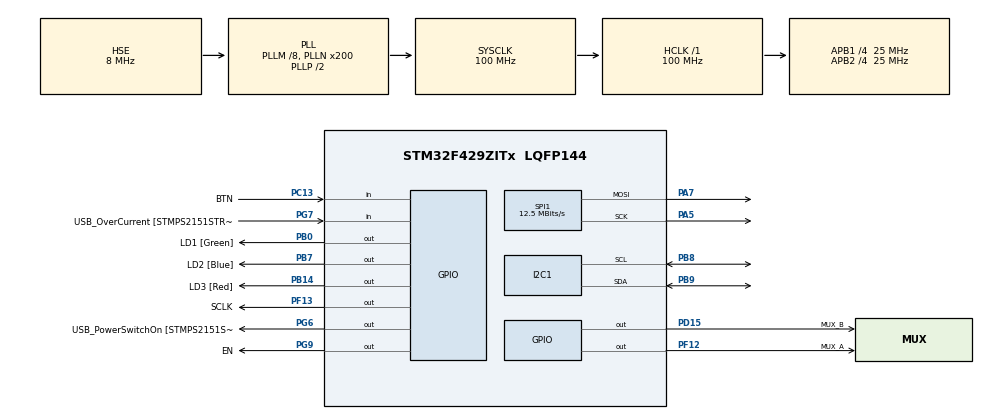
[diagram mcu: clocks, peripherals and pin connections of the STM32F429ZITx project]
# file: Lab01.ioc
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Mcu.Family=STM32F4
Mcu.Name=STM32F429ZITx
Mcu.Package=LQFP144
NVIC.I2C1_ER_IRQn=true\:0\:0\:false\:false\:true\:true\:true\:true
NVIC.I2C1_EV_IRQn=true\:0\:0\:false\:false\:true\:true\:true\:true
NVIC.PriorityGroup=NVIC_PRIORITYGROUP_4
NVIC.TIM3_IRQn=true\:0\:0\:false\:false\:true\:true\:true\:true
PA1.GPIO_Label=RMII_REF_CLK [LAN8742A-CZ-TR_REFCLK0]
PA1.Signal=ETH_REF_CLK
PA10.GPIO_Label=USB_ID
PA10.Signal=USB_OTG_FS_ID
PA11.GPIO_Label=USB_DM
PA11.Signal=USB_OTG_FS_DM
PA12.GPIO_Label=USB_DP
PA12.Signal=USB_OTG_FS_DP
PA13.GPIO_Label=TMS
PA13.Signal=SYS_JTMS-SWDIO
PA14.GPIO_Label=TCK
PA14.Signal=SYS_JTCK-SWCLK
PA2.GPIO_Label=RMII_MDIO [LAN8742A-CZ-TR_MDIO]
PA2.Signal=ETH_MDIO
PA5.Mode=TX_Only_Simplex_Unidirect_Master
PA5.Signal=SPI1_SCK
PA7.Mode=TX_Only_Simplex_Unidirect_Master
PA7.Signal=SPI1_MOSI
PA8.GPIO_Label=USB_SOF [TP1]
PA8.Signal=USB_OTG_FS_SOF
PA9.GPIO_Label=USB_VBUS
PA9.Signal=USB_OTG_FS_VBUS
PB0.GPIO_Label=LD1 [Green]
PB0.Signal=GPIO_Output
PB13.GPIO_Label=RMII_TXD1 [LAN8742A-CZ-TR_TXD1]
PB13.Signal=ETH_TXD1
PB14.GPIO_Label=LD3 [Red]
PB14.Signal=GPIO_Output
PB7.GPIO_Label=LD2 [Blue]
PB7.Signal=GPIO_Output
PB8.GPIO_Pu=GPIO_PULLUP
PB8.Mode=I2C
PB8.Signal=I2C1_SCL
PB9.GPIO_Pu=GPIO_PULLUP
PB9.Mode=I2C
PB9.Signal=I2C1_SDA
PC1.GPIO_Label=RMII_MDC [LAN8742A-CZ-TR_MDC]
PC1.Signal=ETH_MDC
PC13.GPIO_Label=BTN
PC13.Signal=GPIO_Input
PC14/OSC32_IN.Signal=RCC_OSC32_IN
PC15/OSC32_OUT.Signal=RCC_OSC32_OUT
PC4.GPIO_Label=RMII_RXD0 [LAN8742A-CZ-TR_RXD0]
PC4.Signal=ETH_RXD0
PC5.GPIO_Label=RMII_RXD1 [LAN8742A-CZ-TR_RXD1]
PC5.Signal=ETH_RXD1
PD15.GPIO_Label=MUX_B
PD15.Signal=GPIO_Output
PD8.GPIO_Label=STLK_RX [STM32F103CBT6_PA3]
PD8.Signal=USART3_TX
PD9.GPIO_Label=STLK_TX [STM32F103CBT6_PA2]
PD9.Signal=USART3_RX
PF12.GPIO_Label=MUX_A
PF12.Signal=GPIO_Output
PF13.GPIO_Label=SCLK
PF13.Signal=GPIO_Output
PG11.GPIO_Label=RMII_TX_EN [LAN8742A-CZ-TR_TXEN]
PG11.Signal=ETH_TX_EN
PG13.GPIO_Label=RMII_TXD0 [LAN8742A-CZ-TR_TXD0]
PG13.Signal=ETH_TXD0
PG6.GPIO_Label=USB_PowerSwitchOn [STMPS2151STR_EN]
PG6.Signal=GPIO_Output
PG7.GPIO_Label=USB_OverCurrent [STMPS2151STR_FAULT]
PG7.Signal=GPIO_Input
PG9.GPIO_Label=EN
PG9.Signal=GPIO_Output
PH0/OSC_IN.GPIO_Label=MCO [STM32F103CBT6_PA8]
PH0/OSC_IN.Mode=HSE-External-Oscillator
PH0/OSC_IN.Signal=RCC_OSC_IN
PH1/OSC_OUT.Mode=HSE-External-Oscillator
PH1/OSC_OUT.Signal=RCC_OSC_OUT
ProjectManager.HeapSize=0x200
ProjectManager.StackSize=0x400
ProjectManager.TargetToolchain=MDK-ARM V5.32
RCC.48MHZClocksFreq_Value=50000000
RCC.AHBFreq_Value=100000000
RCC.APB1CLKDivider=RCC_HCLK_DIV4
RCC.APB1Freq_Value=25000000
RCC.APB1TimFreq_Value=50000000
RCC.APB2CLKDivider=RCC_HCLK_DIV4
RCC.APB2Freq_Value=25000000
RCC.APB2TimFreq_Value=50000000
RCC.CortexFreq_Value=100000000
RCC.HCLKFreq_Value=100000000
RCC.HSE_VALUE=8000000
RCC.HSI_VALUE=16000000
RCC.LSE_VALUE=32768
RCC.PLLM=8
RCC.PLLMUL=RCC_PLL_MUL9
RCC.PLLN=200
RCC.PLLSourceVirtual=RCC_PLLSOURCE_HSE
RCC.PRESCALERUSB=RCC_USBCLKSOURCE_PLL_DIV1_5
RCC.SYSCLKFreq_VALUE=100000000
RCC.SYSCLKSource=RCC_SYSCLKSOURCE_PLLCLK
RCC.SYSCLKSourceVirtual=RCC_SYSCLKSOURCE_PLLCLK
RCC.USBFreq_Value=48000000
RCC.VCOOutputFreq_Value=200000000
SPI1.BaudRatePrescaler=SPI_BAUDRATEPRESCALER_2
SPI1.CalculateBaudRate=12.5 MBits/s
SPI1.Direction=SPI_DIRECTION_2LINES
SPI1.Mode=SPI_MODE_MASTER
SPI1.VirtualType=VM_MASTER
TIM3.Period=100-1
TIM3.Prescaler=2500-1
VP_TIM3_VS_ClockSourceINT.Mode=Internal
board=NUCLEO-F429ZI

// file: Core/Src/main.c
/* USER CODE BEGIN Header */
/**
  ******************************************************************************
  * @file           : main.c
  * @brief          : Main program body
  ******************************************************************************
  * @attention
  *
  * Copyright (c) 2023 STMicroelectronics.
  * All rights reserved.
  *
  * This software is licensed under terms that can be found in the LICENSE file
  * in the root directory of this software component.
  * If no LICENSE file comes with this software, it is provided AS-IS.
  *
  ******************************************************************************
  */
/* USER CODE END Header */
#include "main.h"

I2C_HandleTypeDef hi2c1;

SPI_HandleTypeDef hspi1;

TIM_HandleTypeDef htim3;

/* USER CODE BEGIN PV */

typedef struct {
	uint8_t x;
	uint8_t y;
} Pixel;

typedef enum {
	AB_11,
	AB_10,
	AB_01,
	AB_00
} ABMux;

uint8_t data[4][16];
uint8_t matrix[16][32] = {0};
uint8_t TX_buffer[64];
int output = 0;

/* USER CODE END PV */

void SystemClock_Config(void);
static void MX_GPIO_Init(void);
static void MX_SPI1_Init(void);
static void MX_TIM3_Init(void);
static void MX_I2C1_Init(void);
/* USER CODE BEGIN PFP */

void setABMux(ABMux AB);
void setOnePixel(Pixel pixel, uint8_t* dataFrame16);
void clearScreen(uint8_t* dataFrame16);
void printOnePixel(Pixel pixel, uint8_t dataFrame[16]);
void setMultiplePixel(uint8_t matrix[16][32], uint8_t dataFrame[4][16]);
void printMultiplePixel(uint8_t dataFrame[4][16]);

/* USER CODE END PFP */

int main(void)
{

  /* MCU Configuration--------------------------------------------------------*/

  /* Reset of all peripherals, Initializes the Flash interface and the Systick. */
  HAL_Init();

  /* Configure the system clock */
  SystemClock_Config();

  /* Initialize all configured peripherals */
  MX_GPIO_Init();
  MX_SPI1_Init();
  MX_TIM3_Init();
  MX_I2C1_Init();
  /* USER CODE BEGIN 2 */

	HAL_TIM_Base_Start_IT(&htim3);

	HAL_GPIO_WritePin(EN_GPIO_Port, EN_Pin, GPIO_PIN_SET);

  /* USER CODE END 2 */

  /* Infinite loop */
  while (1)
  {

    /* USER CODE BEGIN 3 */
		setMultiplePixel(matrix, data);
		printMultiplePixel(data);
//		for (uint8_t i = 0; i < 4; i++) {
//			for (uint8_t j = 0; j < 16; j++) {
//				TX_buffer[16*i + j] = data[i][j];
//			}
//		}
//		HAL_I2C_Master_Transmit_IT(&hi2c1, 10<<1, TX_buffer, 64);
  }
  /* USER CODE END 3 */
}

void SystemClock_Config(void)
{
  RCC_OscInitTypeDef RCC_OscInitStruct = {0};
  RCC_ClkInitTypeDef RCC_ClkInitStruct = {0};

  /** Configure the main internal regulator output voltage
  */
  __HAL_RCC_PWR_CLK_ENABLE();
  __HAL_PWR_VOLTAGESCALING_CONFIG(PWR_REGULATOR_VOLTAGE_SCALE3);

  /** Initializes the RCC Oscillators according to the specified parameters
  * in the RCC_OscInitTypeDef structure.
  */
  RCC_OscInitStruct.OscillatorType = RCC_OSCILLATORTYPE_HSE;
  RCC_OscInitStruct.HSEState = RCC_HSE_ON;
  RCC_OscInitStruct.PLL.PLLState = RCC_PLL_ON;
  RCC_OscInitStruct.PLL.PLLSource = RCC_PLLSOURCE_HSE;
  RCC_OscInitStruct.PLL.PLLM = 8;
  RCC_OscInitStruct.PLL.PLLN = 200;
  RCC_OscInitStruct.PLL.PLLP = RCC_PLLP_DIV2;
  RCC_OscInitStruct.PLL.PLLQ = 4;
  if (HAL_RCC_OscConfig(&RCC_OscInitStruct) != HAL_OK)
  {
    Error_Handler();
  }

  /** Initializes the CPU, AHB and APB buses clocks
  */
  RCC_ClkInitStruct.ClockType = RCC_CLOCKTYPE_HCLK|RCC_CLOCKTYPE_SYSCLK
                              |RCC_CLOCKTYPE_PCLK1|RCC_CLOCKTYPE_PCLK2;
  RCC_ClkInitStruct.SYSCLKSource = RCC_SYSCLKSOURCE_PLLCLK;
  RCC_ClkInitStruct.AHBCLKDivider = RCC_SYSCLK_DIV1;
  RCC_ClkInitStruct.APB1CLKDivider = RCC_HCLK_DIV4;
  RCC_ClkInitStruct.APB2CLKDivider = RCC_HCLK_DIV4;

  if (HAL_RCC_ClockConfig(&RCC_ClkInitStruct, FLASH_LATENCY_3) != HAL_OK)
  {
    Error_Handler();
  }
}

static void MX_I2C1_Init(void)
{

  hi2c1.Instance = I2C1;
  hi2c1.Init.ClockSpeed = 100000;
  hi2c1.Init.DutyCycle = I2C_DUTYCYCLE_2;
  hi2c1.Init.OwnAddress1 = 0;
  hi2c1.Init.AddressingMode = I2C_ADDRESSINGMODE_7BIT;
  hi2c1.Init.DualAddressMode = I2C_DUALADDRESS_DISABLE;
  hi2c1.Init.OwnAddress2 = 0;
  hi2c1.Init.GeneralCallMode = I2C_GENERALCALL_DISABLE;
  hi2c1.Init.NoStretchMode = I2C_NOSTRETCH_DISABLE;
  if (HAL_I2C_Init(&hi2c1) != HAL_OK)
  {
    Error_Handler();
  }

  /** Configure Analogue filter
  */
  if (HAL_I2CEx_ConfigAnalogFilter(&hi2c1, I2C_ANALOGFILTER_ENABLE) != HAL_OK)
  {
    Error_Handler();
  }

  /** Configure Digital filter
  */
  if (HAL_I2CEx_ConfigDigitalFilter(&hi2c1, 0) != HAL_OK)
  {
    Error_Handler();
  }

}

static void MX_SPI1_Init(void)
{

  /* SPI1 parameter configuration*/
  hspi1.Instance = SPI1;
  hspi1.Init.Mode = SPI_MODE_MASTER;
  hspi1.Init.Direction = SPI_DIRECTION_2LINES;
  hspi1.Init.DataSize = SPI_DATASIZE_8BIT;
  hspi1.Init.CLKPolarity = SPI_POLARITY_LOW;
  hspi1.Init.CLKPhase = SPI_PHASE_1EDGE;
  hspi1.Init.NSS = SPI_NSS_SOFT;
  hspi1.Init.BaudRatePrescaler = SPI_BAUDRATEPRESCALER_2;
  hspi1.Init.FirstBit = SPI_FIRSTBIT_MSB;
  hspi1.Init.TIMode = SPI_TIMODE_DISABLE;
  hspi1.Init.CRCCalculation = SPI_CRCCALCULATION_DISABLE;
  hspi1.Init.CRCPolynomial = 10;
  if (HAL_SPI_Init(&hspi1) != HAL_OK)
  {
    Error_Handler();
  }

}

static void MX_TIM3_Init(void)
{

  TIM_ClockConfigTypeDef sClockSourceConfig = {0};
  TIM_MasterConfigTypeDef sMasterConfig = {0};

  htim3.Instance = TIM3;
  htim3.Init.Prescaler = 2500-1;
  htim3.Init.CounterMode = TIM_COUNTERMODE_UP;
  htim3.Init.Period = 100-1;
  htim3.Init.ClockDivision = TIM_CLOCKDIVISION_DIV1;
  htim3.Init.AutoReloadPreload = TIM_AUTORELOAD_PRELOAD_DISABLE;
  if (HAL_TIM_Base_Init(&htim3) != HAL_OK)
  {
    Error_Handler();
  }
  sClockSourceConfig.ClockSource = TIM_CLOCKSOURCE_INTERNAL;
  if (HAL_TIM_ConfigClockSource(&htim3, &sClockSourceConfig) != HAL_OK)
  {
    Error_Handler();
  }
  sMasterConfig.MasterOutputTrigger = TIM_TRGO_RESET;
  sMasterConfig.MasterSlaveMode = TIM_MASTERSLAVEMODE_DISABLE;
  if (HAL_TIMEx_MasterConfigSynchronization(&htim3, &sMasterConfig) != HAL_OK)
  {
    Error_Handler();
  }

}

static void MX_GPIO_Init(void)
{
  GPIO_InitTypeDef GPIO_InitStruct = {0};

  /* GPIO Ports Clock Enable */
  __HAL_RCC_GPIOC_CLK_ENABLE();
  __HAL_RCC_GPIOH_CLK_ENABLE();
  __HAL_RCC_GPIOA_CLK_ENABLE();
  __HAL_RCC_GPIOB_CLK_ENABLE();
  __HAL_RCC_GPIOF_CLK_ENABLE();
  __HAL_RCC_GPIOD_CLK_ENABLE();
  __HAL_RCC_GPIOG_CLK_ENABLE();

  /*Configure GPIO pin Output Level */
  HAL_GPIO_WritePin(GPIOB, LD1_Pin|LD3_Pin|LD2_Pin, GPIO_PIN_RESET);

  /*Configure GPIO pin Output Level */
  HAL_GPIO_WritePin(GPIOF, MUX_A_Pin|SCLK_Pin, GPIO_PIN_RESET);

  /*Configure GPIO pin Output Level */
  HAL_GPIO_WritePin(MUX_B_GPIO_Port, MUX_B_Pin, GPIO_PIN_RESET);

  /*Configure GPIO pin Output Level */
  HAL_GPIO_WritePin(GPIOG, USB_PowerSwitchOn_Pin|EN_Pin, GPIO_PIN_RESET);

  /*Configure GPIO pin : BTN_Pin */
  GPIO_InitStruct.Pin = BTN_Pin;
  GPIO_InitStruct.Mode = GPIO_MODE_INPUT;
  GPIO_InitStruct.Pull = GPIO_NOPULL;
  HAL_GPIO_Init(BTN_GPIO_Port, &GPIO_InitStruct);

  /*Configure GPIO pins : RMII_MDC_Pin RMII_RXD0_Pin RMII_RXD1_Pin */
  GPIO_InitStruct.Pin = RMII_MDC_Pin|RMII_RXD0_Pin|RMII_RXD1_Pin;
  GPIO_InitStruct.Mode = GPIO_MODE_AF_PP;
  GPIO_InitStruct.Pull = GPIO_NOPULL;
  GPIO_InitStruct.Speed = GPIO_SPEED_FREQ_VERY_HIGH;
  GPIO_InitStruct.Alternate = GPIO_AF11_ETH;
  HAL_GPIO_Init(GPIOC, &GPIO_InitStruct);

  /*Configure GPIO pins : RMII_REF_CLK_Pin RMII_MDIO_Pin */
  GPIO_InitStruct.Pin = RMII_REF_CLK_Pin|RMII_MDIO_Pin;
  GPIO_InitStruct.Mode = GPIO_MODE_AF_PP;
  GPIO_InitStruct.Pull = GPIO_NOPULL;
  GPIO_InitStruct.Speed = GPIO_SPEED_FREQ_VERY_HIGH;
  GPIO_InitStruct.Alternate = GPIO_AF11_ETH;
  HAL_GPIO_Init(GPIOA, &GPIO_InitStruct);

  /*Configure GPIO pins : LD1_Pin LD3_Pin LD2_Pin */
  GPIO_InitStruct.Pin = LD1_Pin|LD3_Pin|LD2_Pin;
  GPIO_InitStruct.Mode = GPIO_MODE_OUTPUT_PP;
  GPIO_InitStruct.Pull = GPIO_NOPULL;
  GPIO_InitStruct.Speed = GPIO_SPEED_FREQ_LOW;
  HAL_GPIO_Init(GPIOB, &GPIO_InitStruct);

  /*Configure GPIO pins : MUX_A_Pin SCLK_Pin */
  GPIO_InitStruct.Pin = MUX_A_Pin|SCLK_Pin;
  GPIO_InitStruct.Mode = GPIO_MODE_OUTPUT_PP;
  GPIO_InitStruct.Pull = GPIO_NOPULL;
  GPIO_InitStruct.Speed = GPIO_SPEED_FREQ_LOW;
  HAL_GPIO_Init(GPIOF, &GPIO_InitStruct);

  /*Configure GPIO pin : RMII_TXD1_Pin */
  GPIO_InitStruct.Pin = RMII_TXD1_Pin;
  GPIO_InitStruct.Mode = GPIO_MODE_AF_PP;
  GPIO_InitStruct.Pull = GPIO_NOPULL;
  GPIO_InitStruct.Speed = GPIO_SPEED_FREQ_VERY_HIGH;
  GPIO_InitStruct.Alternate = GPIO_AF11_ETH;
  HAL_GPIO_Init(RMII_TXD1_GPIO_Port, &GPIO_InitStruct);

  /*Configure GPIO pins : STLK_RX_Pin STLK_TX_Pin */
  GPIO_InitStruct.Pin = STLK_RX_Pin|STLK_TX_Pin;
  GPIO_InitStruct.Mode = GPIO_MODE_AF_PP;
  GPIO_InitStruct.Pull = GPIO_NOPULL;
  GPIO_InitStruct.Speed = GPIO_SPEED_FREQ_VERY_HIGH;
  GPIO_InitStruct.Alternate = GPIO_AF7_USART3;
  HAL_GPIO_Init(GPIOD, &GPIO_InitStruct);

  /*Configure GPIO pin : MUX_B_Pin */
  GPIO_InitStruct.Pin = MUX_B_Pin;
  GPIO_InitStruct.Mode = GPIO_MODE_OUTPUT_PP;
  GPIO_InitStruct.Pull = GPIO_NOPULL;
  GPIO_InitStruct.Speed = GPIO_SPEED_FREQ_LOW;
  HAL_GPIO_Init(MUX_B_GPIO_Port, &GPIO_InitStruct);

  /*Configure GPIO pins : USB_PowerSwitchOn_Pin EN_Pin */
  GPIO_InitStruct.Pin = USB_PowerSwitchOn_Pin|EN_Pin;
  GPIO_InitStruct.Mode = GPIO_MODE_OUTPUT_PP;
  GPIO_InitStruct.Pull = GPIO_NOPULL;
  GPIO_InitStruct.Speed = GPIO_SPEED_FREQ_LOW;
  HAL_GPIO_Init(GPIOG, &GPIO_InitStruct);

  /*Configure GPIO pin : USB_OverCurrent_Pin */
  GPIO_InitStruct.Pin = USB_OverCurrent_Pin;
  GPIO_InitStruct.Mode = GPIO_MODE_INPUT;
  GPIO_InitStruct.Pull = GPIO_NOPULL;
  HAL_GPIO_Init(USB_OverCurrent_GPIO_Port, &GPIO_InitStruct);

  /*Configure GPIO pins : USB_SOF_Pin USB_ID_Pin USB_DM_Pin USB_DP_Pin */
  GPIO_InitStruct.Pin = USB_SOF_Pin|USB_ID_Pin|USB_DM_Pin|USB_DP_Pin;
  GPIO_InitStruct.Mode = GPIO_MODE_AF_PP;
  GPIO_InitStruct.Pull = GPIO_NOPULL;
  GPIO_InitStruct.Speed = GPIO_SPEED_FREQ_VERY_HIGH;
  GPIO_InitStruct.Alternate = GPIO_AF10_OTG_FS;
  HAL_GPIO_Init(GPIOA, &GPIO_InitStruct);

  /*Configure GPIO pin : USB_VBUS_Pin */
  GPIO_InitStruct.Pin = USB_VBUS_Pin;
  GPIO_InitStruct.Mode = GPIO_MODE_INPUT;
  GPIO_InitStruct.Pull = GPIO_NOPULL;
  HAL_GPIO_Init(USB_VBUS_GPIO_Port, &GPIO_InitStruct);

  /*Configure GPIO pins : RMII_TX_EN_Pin RMII_TXD0_Pin */
  GPIO_InitStruct.Pin = RMII_TX_EN_Pin|RMII_TXD0_Pin;
  GPIO_InitStruct.Mode = GPIO_MODE_AF_PP;
  GPIO_InitStruct.Pull = GPIO_NOPULL;
  GPIO_InitStruct.Speed = GPIO_SPEED_FREQ_VERY_HIGH;
  GPIO_InitStruct.Alternate = GPIO_AF11_ETH;
  HAL_GPIO_Init(GPIOG, &GPIO_InitStruct);

}

/* USER CODE BEGIN 4 */

void setABMux(ABMux AB){
	switch (AB) {
		case AB_11:
			HAL_GPIO_WritePin(MUX_A_GPIO_Port, MUX_A_Pin, GPIO_PIN_SET);
			HAL_GPIO_WritePin(MUX_B_GPIO_Port, MUX_B_Pin, GPIO_PIN_SET);
			break;
		case AB_01:
			HAL_GPIO_WritePin(MUX_A_GPIO_Port, MUX_A_Pin, GPIO_PIN_SET);
			HAL_GPIO_WritePin(MUX_B_GPIO_Port, MUX_B_Pin, GPIO_PIN_RESET);
			break;
		case AB_10:
			HAL_GPIO_WritePin(MUX_A_GPIO_Port, MUX_A_Pin, GPIO_PIN_RESET);
			HAL_GPIO_WritePin(MUX_B_GPIO_Port, MUX_B_Pin, GPIO_PIN_SET);
			break;
		case AB_00:
			HAL_GPIO_WritePin(MUX_A_GPIO_Port, MUX_A_Pin, GPIO_PIN_RESET);
			HAL_GPIO_WritePin(MUX_B_GPIO_Port, MUX_B_Pin, GPIO_PIN_RESET);
			break;
	}
}

void setOnePixel(Pixel pixel, uint8_t* dataFrame16) {
	uint8_t y_sec = pixel.y / 4;
	uint8_t x_sec = pixel.x / 8;
	uint8_t y_sub = pixel.y % 4;
	uint8_t x_sub = pixel.x % 8;
	dataFrame16[x_sec * 4 + y_sec] &= ~(1 << (7 - x_sub));
}

void clearScreen(uint8_t* dataFrame16) {
	for (uint8_t i = 0; i < 16; i++) {
		dataFrame16[i] = 0xff;
	}
}
void printOnePixel(Pixel pixel, uint8_t dataFrame[16]) {
	clearScreen(dataFrame);
	setOnePixel(pixel, dataFrame);
	setABMux(pixel.y % 4);
	for (uint8_t i = 0; i < 16; i++) {
		HAL_GPIO_WritePin(SCLK_GPIO_Port, SCLK_Pin, GPIO_PIN_SET);
		HAL_SPI_Transmit(&hspi1, &dataFrame[i], 1, 10);
		HAL_GPIO_WritePin(SCLK_GPIO_Port, SCLK_Pin, GPIO_PIN_RESET);
	}
}

void setMultiplePixel(uint8_t matrix[16][32], uint8_t dataFrame[4][16]) {
	for (uint8_t i = 0; i < 4; i++) {
		clearScreen(dataFrame[i]);
	}
	Pixel pix;
	for (uint8_t x = 0; x < 32; x++) {
		for (uint8_t y = 0; y < 16; y++) {
			pix.x = x;
			pix.y = y;
			if (matrix[y][x] == 1) {
					setOnePixel(pix, dataFrame[y % 4]);
			}
		}
	}
}

void printMultiplePixel(uint8_t dataFrame[4][16]) {
	for (uint8_t j = 0; j < 4; j++) {
		setABMux(j);
		for (uint8_t i = 0; i < 16; i++) {
			HAL_GPIO_WritePin(SCLK_GPIO_Port, SCLK_Pin, GPIO_PIN_SET);
			HAL_SPI_Transmit(&hspi1, &dataFrame[j][i], 1, 2);
			HAL_GPIO_WritePin(SCLK_GPIO_Port, SCLK_Pin, GPIO_PIN_RESET);
		}
		HAL_Delay(1);
	}
}

/* USER CODE END 4 */

void Error_Handler(void)
{
  __disable_irq();
  while (1)
  {
  }
}
